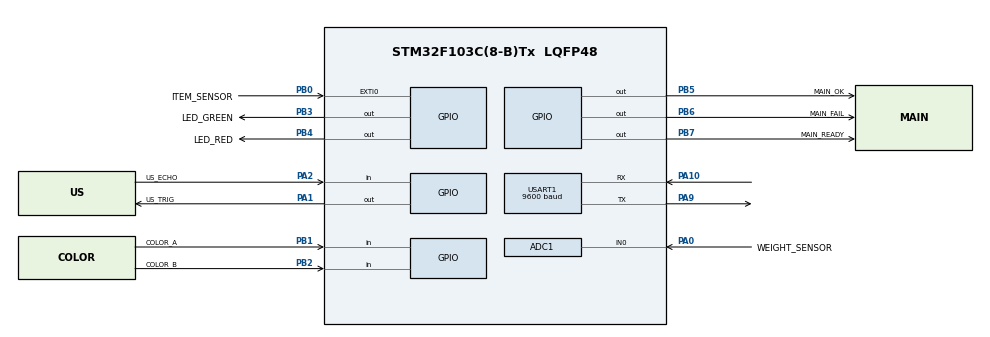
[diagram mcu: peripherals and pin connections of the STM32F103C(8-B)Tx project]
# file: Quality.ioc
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ADC1.Channel-0\#ChannelRegularConversion=ADC_CHANNEL_0
ADC1.NbrOfConversionFlag=1
ADC1.Rank-0\#ChannelRegularConversion=1
ADC1.SamplingTime-0\#ChannelRegularConversion=ADC_SAMPLETIME_55CYCLES_5
ADC1.master=1
Mcu.Family=STM32F1
Mcu.Name=STM32F103C(8-B)Tx
Mcu.Package=LQFP48
NVIC.EXTI0_IRQn=true\:0\:0\:false\:false\:true\:true\:true\:true
NVIC.PriorityGroup=NVIC_PRIORITYGROUP_4
PA0-WKUP.GPIO_Label=WEIGHT_SENSOR 
PA0-WKUP.Signal=ADCx_IN0
PA1.GPIO_Label=US_TRIG 
PA1.Signal=GPIO_Output
PA10.Mode=Asynchronous
PA10.Signal=USART1_RX
PA2.GPIO_Label=US_ECHO 
PA2.Signal=GPIO_Input
PA9.Mode=Asynchronous
PA9.Signal=USART1_TX
PB0.GPIO_Label=ITEM_SENSOR
PB0.Signal=GPXTI0
PB1.GPIO_Label=COLOR_A 
PB1.Signal=GPIO_Input
PB2.GPIO_Label=COLOR_B 
PB2.Signal=GPIO_Input
PB3.GPIO_Label=LED_GREEN 
PB3.Signal=GPIO_Output
PB4.GPIO_Label=LED_RED 
PB4.Signal=GPIO_Output
PB5.GPIO_Label=MAIN_OK
PB5.Signal=GPIO_Output
PB6.GPIO_Label=MAIN_FAIL
PB6.Signal=GPIO_Output
PB7.GPIO_Label=MAIN_READY
PB7.Signal=GPIO_Output
ProjectManager.HeapSize=0x200
ProjectManager.StackSize=0x400
ProjectManager.TargetToolchain=MDK-ARM V5.32
RCC.APB1Freq_Value=8000000
RCC.APB2Freq_Value=8000000
SH.ADCx_IN0.0=ADC1_IN0,IN0
USART1.BaudRate=9600
USART1.VirtualMode=VM_ASYNC
VP_SYS_VS_ND.Mode=No_Debug
board=custom

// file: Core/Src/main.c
/* USER CODE BEGIN Header */
/**
  ******************************************************************************
  * @file           : main.c
  * @brief          : Main program body
  ******************************************************************************
  */
/* USER CODE END Header */
#include "main.h"
#include <string.h>
#include <stdio.h>
#include <stdarg.h>

ADC_HandleTypeDef hadc1;
UART_HandleTypeDef huart1;

/* USER CODE BEGIN PV */
// Quality Control Counters
uint32_t total_passed = 0;
uint32_t total_failed = 0;

// Interrupt Flag (Set to 1 when PB0 goes High)
volatile uint8_t item_detected = 0;

// Sensor Variables
uint16_t weight_value = 0;
uint32_t distance_cm = 0;
uint8_t color_code = 0;

// System Clock / Time simulation (Daily Report at 07:00 AM)
uint8_t current_hour = 6;     // Start at 06:00 AM
uint8_t current_minute = 58;  // 58 minutes (flows to 07:00 AM soon)
uint32_t time_tick = 0;

// Serial communication buffer
char uart_buffer[128];
/* USER CODE END PV */

void SystemClock_Config(void);
static void MX_GPIO_Init(void);
static void MX_ADC1_Init(void);
static void MX_USART1_UART_Init(void);

/* USER CODE BEGIN 0 */

// Custom Printf function for clean, line-by-line output in Proteus Terminal
void uart_printf(const char *fmt, ...)
{
    va_list args;
    va_start(args, fmt);
    vsnprintf(uart_buffer, sizeof(uart_buffer), fmt, args);
    va_end(args);

    // Send formatted string
    HAL_UART_Transmit(&huart1, (uint8_t*)uart_buffer, strlen(uart_buffer), 100);
    // Send Carriage Return and Line Feed for newline
    HAL_UART_Transmit(&huart1, (uint8_t*)"\r\n", 2, 100);
}

// External Interrupt Callback
void HAL_GPIO_EXTI_Callback(uint16_t GPIO_Pin)
{
    if (GPIO_Pin == ITEM_SENSOR_Pin)
    {
        item_detected = 1; // Trigger flag when button/sensor on PB0 is pressed
    }
}

// Read Weight from Analog ADC (PA0)
uint16_t read_weight(void)
{
    uint16_t adc_val = 0;
    HAL_ADC_Start(&hadc1);

    if (HAL_ADC_PollForConversion(&hadc1, 100) == HAL_OK)
    {
        adc_val = HAL_ADC_GetValue(&hadc1);
    }
    HAL_ADC_Stop(&hadc1);
    return adc_val;
}

// Read Distance from Ultrasonic Sensor (PA1: Trig, PA2: Echo)
uint32_t read_distance(void)
{
    uint32_t pulse_time = 0;
    uint32_t timeout = 10000; // Timeout to prevent Proteus simulator lockup

    // Generate 10 microsecond pulse on Trig
    HAL_GPIO_WritePin(US_TRIG_GPIO_Port, US_TRIG_Pin, GPIO_PIN_SET);
    HAL_Delay(1);
    HAL_GPIO_WritePin(US_TRIG_GPIO_Port, US_TRIG_Pin, GPIO_PIN_RESET);

    // Wait for Echo pin to go HIGH
    while(HAL_GPIO_ReadPin(US_ECHO_GPIO_Port, US_ECHO_Pin) == GPIO_PIN_RESET && timeout > 0)
    {
        timeout--;
    }

    timeout = 10000;
    // Measure pulse width
    while(HAL_GPIO_ReadPin(US_ECHO_GPIO_Port, US_ECHO_Pin) == GPIO_PIN_SET && timeout > 0)
    {
        pulse_time++;
        timeout--;
        HAL_Delay(1);
    }

    return (pulse_time * 2); // Simplified distance calculation for simulation
}

// Read Color Code from PB1
uint8_t read_color(void)
{
    // Reads GPIOB Pin 1 (1 = Correct color, 0 = Wrong color)
    if(HAL_GPIO_ReadPin(GPIOB, GPIO_PIN_1) == GPIO_PIN_SET)
    {
        return 1;
    }
    return 0;
}

// Report local status to Main Board
void report_to_main(uint8_t status)
{
    if (status == 1) // PASS
    {
        HAL_GPIO_WritePin(MAIN_OK_GPIO_Port, MAIN_OK_Pin, GPIO_PIN_SET);
        HAL_GPIO_WritePin(MAIN_FAIL_GPIO_Port, MAIN_FAIL_Pin, GPIO_PIN_RESET);
    }
    else // FAIL
    {
        HAL_GPIO_WritePin(MAIN_OK_GPIO_Port, MAIN_OK_Pin, GPIO_PIN_RESET);
        HAL_GPIO_WritePin(MAIN_FAIL_GPIO_Port, MAIN_FAIL_Pin, GPIO_PIN_SET);
    }

    // Ready signal active high
    HAL_GPIO_WritePin(MAIN_READY_GPIO_Port, MAIN_READY_Pin, GPIO_PIN_SET);
    HAL_Delay(100);
}

// Clear all report lines
void reset_main_report(void)
{
    HAL_GPIO_WritePin(MAIN_OK_GPIO_Port, MAIN_OK_Pin, GPIO_PIN_RESET);
    HAL_GPIO_WritePin(MAIN_FAIL_GPIO_Port, MAIN_FAIL_Pin, GPIO_PIN_RESET);
    HAL_GPIO_WritePin(MAIN_READY_GPIO_Port, MAIN_READY_Pin, GPIO_PIN_RESET);
}
/* USER CODE END 0 */

int main(void)
{

  /* MCU Configuration--------------------------------------------------------*/
  HAL_Init();

  /* Configure the system clock */
  SystemClock_Config();

  /* Initialize all configured peripherals */
  MX_GPIO_Init();
  MX_ADC1_Init();
  MX_USART1_UART_Init();

  /* USER CODE BEGIN 2 */
  HAL_GPIO_WritePin(LED_GREEN_GPIO_Port, LED_GREEN_Pin, GPIO_PIN_RESET);
  HAL_GPIO_WritePin(LED_RED_GPIO_Port, LED_RED_Pin, GPIO_PIN_RESET);
  reset_main_report();

  // Clean startup messages
  uart_printf("=== QC System Started ===");
  uart_printf("Waiting for items...");
  uart_printf("---------------------------------");
  /* USER CODE END 2 */

  /* Infinite loop */
  /* USER CODE BEGIN WHILE */
  while (1)
  {
    // 1. Process item when interrupt occurs on PB0
    if (item_detected == 1)
    {
        weight_value = read_weight();
        distance_cm = read_distance();
        color_code = read_color();

        // Quality Criteria check:
        // - Weight: between 1500 and 3500
        // - Distance (size): less than 25 cm
        // - Color: Correct (1)
        if (weight_value >= 1500 && weight_value <= 3500 && distance_cm < 25 && color_code == 1)
        {
            total_passed++;

            HAL_GPIO_WritePin(LED_GREEN_GPIO_Port, LED_GREEN_Pin, GPIO_PIN_SET);
            HAL_GPIO_WritePin(LED_RED_GPIO_Port, LED_RED_Pin, GPIO_PIN_RESET);

            uart_printf("Item status: PASS | Weight: %d | Size: %d cm | Color: OK | Total OK: %d",
                        weight_value, (int)distance_cm, total_passed);

            report_to_main(1);
        }
        else
        {
            total_failed++;

            HAL_GPIO_WritePin(LED_GREEN_GPIO_Port, LED_GREEN_Pin, GPIO_PIN_RESET);
            HAL_GPIO_WritePin(LED_RED_GPIO_Port, LED_RED_Pin, GPIO_PIN_SET);

            uart_printf("Item status: FAIL | Weight: %d | Size: %d cm | Color: %s | Total FAIL: %d",
                        weight_value, (int)distance_cm, (color_code == 1 ? "OK" : "WRONG"), total_failed);

            report_to_main(2);
        }

        HAL_Delay(2000); // Wait 2 seconds to hold output

        HAL_GPIO_WritePin(LED_GREEN_GPIO_Port, LED_GREEN_Pin, GPIO_PIN_RESET);
        HAL_GPIO_WritePin(LED_RED_GPIO_Port, LED_RED_Pin, GPIO_PIN_RESET);
        reset_main_report();

        item_detected = 0; // Clear trigger flag
    }

    // 2. Increment System Time
    time_tick++;
    if (time_tick >= 10)
    {
        time_tick = 0;
        current_minute++;
        if (current_minute >= 60)
        {
            current_minute = 0;
            current_hour++;
            if (current_hour >= 24)
            {
                current_hour = 0;
            }
        }
    }

    // 3. Daily Report generation at 07:00 AM
    if (current_hour == 7 && current_minute == 0)
    {
        uart_printf("=================================");
        uart_printf("    DAILY QC REPORT - 07:00 AM   ");
        uart_printf("=================================");
        uart_printf("Total Passed (OK)    : %d", (int)total_passed);
        uart_printf("Total Failed (Error) : %d", (int)total_failed);
        uart_printf("---------------------------------\r\n");

        total_passed = 0;
        total_failed = 0;

        HAL_Delay(1200); // Simple delay to prevent re-triggering within the same minute
    }

    HAL_Delay(100);
    /* USER CODE END WHILE */

  }
}

void SystemClock_Config(void)
{
  RCC_OscInitTypeDef RCC_OscInitStruct = {0};
  RCC_ClkInitTypeDef RCC_ClkInitStruct = {0};
  RCC_PeriphCLKInitTypeDef PeriphClkInit = {0};

  RCC_OscInitStruct.OscillatorType = RCC_OSCILLATORTYPE_HSI;
  RCC_OscInitStruct.HSIState = RCC_HSI_ON;
  RCC_OscInitStruct.HSICalibrationValue = RCC_HSICALIBRATION_DEFAULT;
  RCC_OscInitStruct.PLL.PLLState = RCC_PLL_NONE;
  if (HAL_RCC_OscConfig(&RCC_OscInitStruct) != HAL_OK)
  {
    Error_Handler();
  }

  RCC_ClkInitStruct.ClockType = RCC_CLOCKTYPE_HCLK|RCC_CLOCKTYPE_SYSCLK
                              |RCC_CLOCKTYPE_PCLK1|RCC_CLOCKTYPE_PCLK2;
  RCC_ClkInitStruct.SYSCLKSource = RCC_SYSCLKSOURCE_HSI;
  RCC_ClkInitStruct.AHBCLKDivider = RCC_SYSCLK_DIV1;
  RCC_ClkInitStruct.APB1CLKDivider = RCC_HCLK_DIV1;
  RCC_ClkInitStruct.APB2CLKDivider = RCC_HCLK_DIV1;

  if (HAL_RCC_ClockConfig(&RCC_ClkInitStruct, FLASH_LATENCY_0) != HAL_OK)
  {
    Error_Handler();
  }
  PeriphClkInit.PeriphClockSelection = RCC_PERIPHCLK_ADC;
  PeriphClkInit.AdcClockSelection = RCC_ADCPCLK2_DIV2;
  if (HAL_RCCEx_PeriphCLKConfig(&PeriphClkInit) != HAL_OK)
  {
    Error_Handler();
  }
}

static void MX_ADC1_Init(void)
{
  ADC_ChannelConfTypeDef sConfig = {0};

  hadc1.Instance = ADC1;
  hadc1.Init.ScanConvMode = ADC_SCAN_DISABLE;
  hadc1.Init.ContinuousConvMode = DISABLE;
  hadc1.Init.DiscontinuousConvMode = DISABLE;
  hadc1.Init.ExternalTrigConv = ADC_SOFTWARE_START;
  hadc1.Init.DataAlign = ADC_DATAALIGN_RIGHT;
  hadc1.Init.NbrOfConversion = 1;
  if (HAL_ADC_Init(&hadc1) != HAL_OK)
  {
    Error_Handler();
  }

  sConfig.Channel = ADC_CHANNEL_0;
  sConfig.Rank = ADC_REGULAR_RANK_1;
  sConfig.SamplingTime = ADC_SAMPLETIME_55CYCLES_5;
  if (HAL_ADC_ConfigChannel(&hadc1, &sConfig) != HAL_OK)
  {
    Error_Handler();
  }
}

static void MX_USART1_UART_Init(void)
{
  huart1.Instance = USART1;
  huart1.Init.BaudRate = 9600;
  huart1.Init.WordLength = UART_WORDLENGTH_8B;
  huart1.Init.StopBits = UART_STOPBITS_1;
  huart1.Init.Parity = UART_PARITY_NONE;
  huart1.Init.Mode = UART_MODE_TX_RX;
  huart1.Init.HwFlowCtl = UART_HWCONTROL_NONE;
  huart1.Init.OverSampling = UART_OVERSAMPLING_16;
  if (HAL_UART_Init(&huart1) != HAL_OK)
  {
    Error_Handler();
  }
}

static void MX_GPIO_Init(void)
{
  GPIO_InitTypeDef GPIO_InitStruct = {0};

  /* GPIO Ports Clock Enable */
  __HAL_RCC_GPIOA_CLK_ENABLE();
  __HAL_RCC_GPIOB_CLK_ENABLE();

  /*Configure GPIO pin Output Level */
  HAL_GPIO_WritePin(US_TRIG_GPIO_Port, US_TRIG_Pin, GPIO_PIN_RESET);

  /*Configure GPIO pin Output Level */
  HAL_GPIO_WritePin(GPIOB, LED_GREEN_Pin|LED_RED_Pin|MAIN_OK_Pin|MAIN_FAIL_Pin
                          |MAIN_READY_Pin, GPIO_PIN_RESET);

  /*Configure GPIO pin : US_TRIG_Pin */
  GPIO_InitStruct.Pin = US_TRIG_Pin;
  GPIO_InitStruct.Mode = GPIO_MODE_OUTPUT_PP;
  GPIO_InitStruct.Pull = GPIO_NOPULL;
  GPIO_InitStruct.Speed = GPIO_SPEED_FREQ_LOW;
  HAL_GPIO_Init(US_TRIG_GPIO_Port, &GPIO_InitStruct);

  /*Configure GPIO pin : US_ECHO_Pin */
  GPIO_InitStruct.Pin = US_ECHO_Pin;
  GPIO_InitStruct.Mode = GPIO_MODE_INPUT;
  GPIO_InitStruct.Pull = GPIO_NOPULL;
  HAL_GPIO_Init(US_ECHO_GPIO_Port, &GPIO_InitStruct);

  /*Configure GPIO pin : ITEM_SENSOR_Pin */
  GPIO_InitStruct.Pin = ITEM_SENSOR_Pin;
  GPIO_InitStruct.Mode = GPIO_MODE_IT_RISING;
  GPIO_InitStruct.Pull = GPIO_NOPULL;
  HAL_GPIO_Init(ITEM_SENSOR_GPIO_Port, &GPIO_InitStruct);

  /*Configure GPIO pin : PB1 (COLOR_A_Pin) */
  GPIO_InitStruct.Pin = COLOR_A_Pin;
  GPIO_InitStruct.Mode = GPIO_MODE_INPUT;
  GPIO_InitStruct.Pull = GPIO_NOPULL;
  HAL_GPIO_Init(GPIOB, &GPIO_InitStruct);

  /*Configure GPIO pins : LED_GREEN_Pin LED_RED_Pin MAIN_OK_Pin MAIN_FAIL_Pin
                           MAIN_READY_Pin */
  GPIO_InitStruct.Pin = LED_GREEN_Pin|LED_RED_Pin|MAIN_OK_Pin|MAIN_FAIL_Pin
                          |MAIN_READY_Pin;
  GPIO_InitStruct.Mode = GPIO_MODE_OUTPUT_PP;
  GPIO_InitStruct.Pull = GPIO_NOPULL;
  GPIO_InitStruct.Speed = GPIO_SPEED_FREQ_LOW;
  HAL_GPIO_Init(GPIOB, &GPIO_InitStruct);

  /* EXTI interrupt init*/
  HAL_NVIC_SetPriority(EXTI0_IRQn, 0, 0);
  HAL_NVIC_EnableIRQ(EXTI0_IRQn);
}

void Error_Handler(void)
{
  __disable_irq();
  while (1)
  {
  }
}
